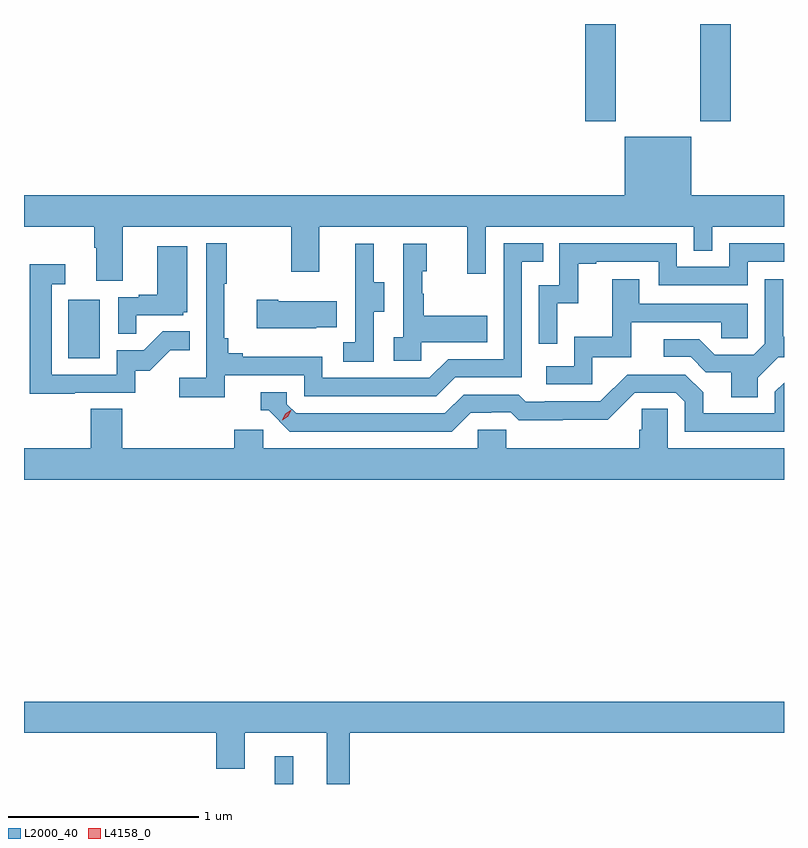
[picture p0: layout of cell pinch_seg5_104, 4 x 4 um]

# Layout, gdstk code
import gdstk
lib = gdstk.Library(unit=1e-6, precision=1e-09)
def R(c, l, rs):  # rectangles x0, y0, x1, y1
    for r in rs: c.add(gdstk.rectangle(r[:2], r[2:], *l))
def P(c, l, *ps):  # polygons
    for p in ps: c.add(gdstk.Polygon(p, *l))
L2000_40 = (2000, 40)
L4158_0 = (4158, 0)

pinch_seg5_104 = lib.new_cell('pinch_seg5_104')
R(pinch_seg5_104, L2000_40, [(1042.862,891.122,1042.96,891.268), (1041.776,893.364,1041.94,893.671), (1044.497,894.609,1044.657,895.122), (1045.102,894.609,1045.262,895.122)])
P(pinch_seg5_104, L2000_40, [(1042.063,894.056),(1042.948,894.056),(1042.948,893.817),(1043.095,893.817),(1043.095,894.056),(1043.876,894.056),(1043.876,893.808),(1043.973,893.808),(1043.973,894.056),(1045.068,894.056),(1045.068,893.929),(1045.164,893.929),(1045.164,894.056),(1045.542,894.056),(1045.542,894.22),(1045.054,894.22),(1045.054,894.529),(1044.704,894.529),(1044.704,894.22),(1041.542,894.22),(1041.542,894.056),(1041.911,894.056),(1041.911,893.944),(1041.923,893.944),(1041.923,893.77),(1042.063,893.77)],
  [(1042.598,893.274),(1043.016,893.274),(1043.016,893.163),(1043.713,893.163),(1043.812,893.262),(1044.162,893.262),(1044.162,893.871),(1044.275,893.871),(1044.275,893.967),(1044.066,893.967),(1044.066,893.358),(1043.775,893.358),(1043.676,893.259),(1043.112,893.259),(1043.112,893.371),(1042.693,893.371),(1042.693,893.39),(1042.616,893.39),(1042.616,893.467),(1042.597,893.467),(1042.597,893.755),(1042.609,893.755),(1042.609,893.968),(1042.5,893.968),(1042.5,893.26),(1042.359,893.26),(1042.359,893.158),(1042.598,893.158)],
  [(1044.348,893.651),(1044.458,893.651),(1044.458,893.859),(1044.553,893.859),(1044.553,893.871),(1044.882,893.871),(1044.882,893.748),(1045.35,893.748),(1045.35,893.871),(1045.542,893.871),(1045.542,893.967),(1045.254,893.967),(1045.254,893.844),(1044.978,893.844),(1044.978,893.967),(1044.36,893.967),(1044.36,893.748),(1044.252,893.748),(1044.252,893.439),(1044.348,893.439)],
  [(1043.382,893.608),(1043.437,893.608),(1043.437,893.763),(1043.383,893.763),(1043.383,893.965),(1043.285,893.965),(1043.285,893.751),(1043.286,893.751),(1043.286,893.447),(1043.223,893.447),(1043.223,893.344),(1043.382,893.344)],
  [(1043.634,893.447),(1043.981,893.447),(1043.981,893.587),(1043.647,893.587),(1043.647,893.702),(1043.637,893.702),(1043.637,893.82),(1043.662,893.82),(1043.662,893.965),(1043.538,893.965),(1043.538,893.474),(1043.487,893.474),(1043.487,893.349),(1043.634,893.349)],
  [(1042.133,893.589),(1042.38,893.589),(1042.38,893.604),(1042.402,893.604),(1042.402,893.953),(1042.244,893.953),(1042.244,893.698),(1042.145,893.698),(1042.145,893.685),(1042.038,893.685),(1042.038,893.491),(1042.133,893.491)],
  [(1041.809,893.181),(1042.128,893.181),(1042.128,893.298),(1042.204,893.298),(1042.311,893.405),(1042.415,893.405),(1042.415,893.504),(1042.271,893.504),(1042.173,893.406),(1042.029,893.406),(1042.029,893.277),(1041.687,893.277),(1041.687,893.751),(1041.76,893.751),(1041.76,893.857),(1041.571,893.857),(1041.571,893.176),(1041.809,893.176)],
  [(1045.405,893.26),(1045.512,893.367),(1045.542,893.367),(1045.542,893.476),(1045.537,893.476),(1045.537,893.779),(1045.44,893.779),(1045.44,893.439),(1045.383,893.382),(1045.177,893.382),(1045.096,893.463),(1044.909,893.463),(1044.909,893.37),(1045.05,893.37),(1045.13,893.29),(1045.265,893.29),(1045.265,893.158),(1045.405,893.158)],
  [(1044.534,893.367),(1044.739,893.367),(1044.739,893.553),(1045.213,893.553),(1045.213,893.469),(1045.35,893.469),(1045.35,893.649),(1044.781,893.649),(1044.781,893.779),(1044.637,893.779),(1044.637,893.476),(1044.438,893.476),(1044.438,893.322),(1044.291,893.322),(1044.291,893.226),(1044.534,893.226)],
  [(1043.081,893.525),(1043.189,893.525),(1043.189,893.662),(1042.879,893.662),(1042.879,893.67),(1042.767,893.67),(1042.767,893.522),(1043.081,893.522)],
  [(1043.893,893.076),(1044,893.076),(1044,893.079),(1044.103,893.079),(1044.145,893.037),(1044.378,893.037),(1044.378,893.039),(1044.614,893.039),(1044.756,893.181),(1044.972,893.181),(1045.02,893.133),(1045.02,892.977),(1045.542,892.977),(1045.542,893.235),(1045.494,893.187),(1045.494,893.073),(1045.117,893.073),(1045.117,893.183),(1045.023,893.277),(1044.717,893.277),(1044.576,893.136),(1044.283,893.136),(1044.283,893.133),(1044.184,893.133),(1044.145,893.172),(1043.856,893.172),(1043.757,893.073),(1042.974,893.073),(1042.926,893.121),(1042.926,893.184),(1042.787,893.184),(1042.787,893.088),(1042.83,893.088),(1042.941,892.977),(1043.794,892.977)],
  [(1045.542,892.888),(1044.93,892.888),(1044.93,893.096),(1044.793,893.096),(1044.793,892.986),(1044.779,892.986),(1044.779,892.888),(1044.081,892.888),(1044.081,892.986),(1043.931,892.986),(1043.931,892.888),(1042.8,892.888),(1042.8,892.986),(1042.649,892.986),(1042.649,892.888),(1042.058,892.888),(1042.058,893.096),(1041.893,893.096),(1041.893,892.888),(1041.542,892.888),(1041.542,892.724),(1045.542,892.724)],
  [(1043.257,891.392),(1045.542,891.392),(1045.542,891.556),(1041.542,891.556),(1041.542,891.392),(1042.553,891.392),(1042.553,891.202),(1042.705,891.202),(1042.705,891.392),(1043.135,891.392),(1043.135,891.122),(1043.257,891.122)])
P(pinch_seg5_104, L4158_0, [(1042.9,893.037),(1042.9,893.037),(1042.917,893.07),(1042.947,893.089),(1042.948,893.089),(1042.948,893.089),(1042.931,893.056),(1042.901,893.037)])

lib.write_gds('pinch_seg5_104.gds')
